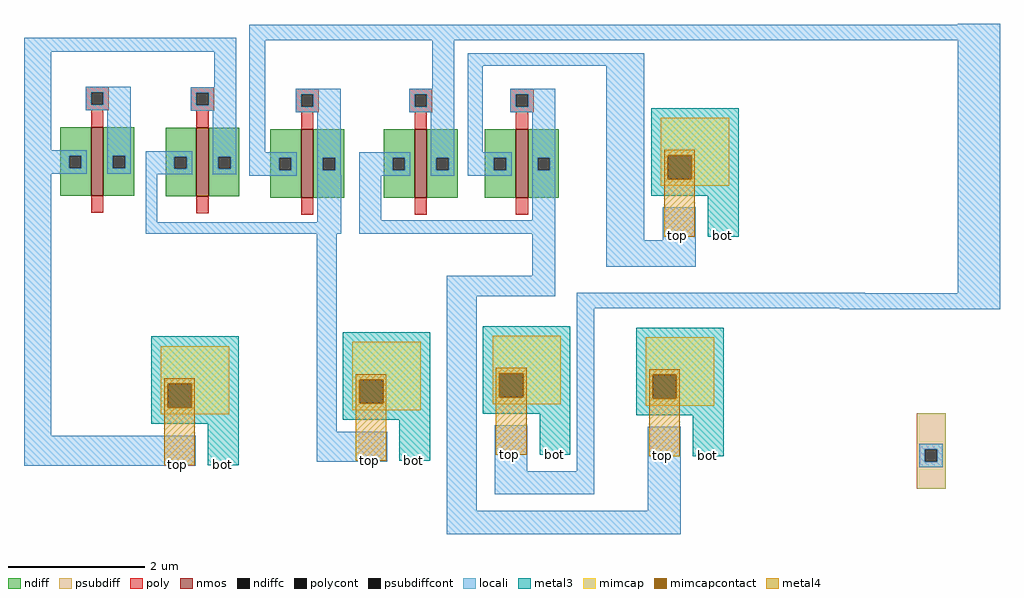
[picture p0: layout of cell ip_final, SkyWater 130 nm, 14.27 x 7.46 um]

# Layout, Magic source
magic
tech sky130A
<< nmos >>
rect 0 2 18 102
rect 154 1 172 101
rect 307 -1 325 99
rect 473 -1 491 99
rect 621 -1 639 99
<< ndiff >>
rect -45 60 0 102
rect -45 42 -32 60
rect -14 42 0 60
rect -45 2 0 42
rect 18 60 63 102
rect 18 42 32 60
rect 50 42 63 60
rect 18 2 63 42
rect 109 59 154 101
rect 109 41 122 59
rect 140 41 154 59
rect 109 1 154 41
rect 172 59 217 101
rect 172 41 186 59
rect 204 41 217 59
rect 172 1 217 41
rect 262 57 307 99
rect 262 39 275 57
rect 293 39 307 57
rect 262 -1 307 39
rect 325 57 370 99
rect 325 39 339 57
rect 357 39 370 57
rect 325 -1 370 39
rect 428 57 473 99
rect 428 39 441 57
rect 459 39 473 57
rect 428 -1 473 39
rect 491 57 536 99
rect 491 39 505 57
rect 523 39 536 57
rect 491 -1 536 39
rect 576 57 621 99
rect 576 39 589 57
rect 607 39 621 57
rect 576 -1 621 39
rect 639 57 684 99
rect 639 39 653 57
rect 671 39 684 57
rect 639 -1 684 39
<< ndiffc >>
rect -32 42 -14 60
rect 32 42 50 60
rect 122 41 140 59
rect 186 41 204 59
rect 275 39 293 57
rect 339 39 357 57
rect 441 39 459 57
rect 505 39 523 57
rect 589 39 607 57
rect 653 39 671 57
<< psubdiff >>
rect 1207 -369 1250 -316
rect 1207 -387 1219 -369
rect 1237 -387 1250 -369
rect 1207 -427 1250 -387
<< psubdiffcont >>
rect 1219 -387 1237 -369
<< poly >>
rect -8 153 26 161
rect -8 135 0 153
rect 18 135 26 153
rect -8 127 26 135
rect 146 152 180 160
rect 146 134 154 152
rect 172 134 180 152
rect 0 102 18 127
rect 146 126 180 134
rect 299 150 333 158
rect 299 132 307 150
rect 325 132 333 150
rect 154 101 172 126
rect 299 124 333 132
rect 465 150 499 158
rect 465 132 473 150
rect 491 132 499 150
rect 465 124 499 132
rect 613 150 647 158
rect 613 132 621 150
rect 639 132 647 150
rect 613 124 647 132
rect 0 -23 18 2
rect 307 99 325 124
rect 473 99 491 124
rect 621 99 639 124
rect 154 -24 172 1
rect 307 -26 325 -1
rect 473 -26 491 -1
rect 621 -26 639 -1
<< polycont >>
rect 0 135 18 153
rect 154 134 172 152
rect 307 132 325 150
rect 473 132 491 150
rect 621 132 639 150
<< locali >>
rect 1267 252 1329 253
rect -98 212 212 233
rect -98 68 -58 212
rect -8 153 58 161
rect 180 160 212 212
rect -8 135 0 153
rect 18 135 58 153
rect -8 127 58 135
rect -98 60 -6 68
rect -98 42 -32 60
rect -14 42 -6 60
rect -98 34 -6 42
rect 24 60 58 127
rect 146 152 212 160
rect 146 134 154 152
rect 172 134 212 152
rect 146 126 212 134
rect 24 42 32 60
rect 50 42 58 60
rect 24 34 58 42
rect 80 59 148 67
rect 80 41 122 59
rect 140 41 148 59
rect -98 -349 -58 34
rect 80 33 148 41
rect 178 59 212 126
rect 178 41 186 59
rect 204 41 212 59
rect 178 33 212 41
rect 231 229 1329 252
rect 231 65 255 229
rect 499 158 531 229
rect 299 150 365 158
rect 299 132 307 150
rect 325 132 365 150
rect 299 124 365 132
rect 465 150 531 158
rect 465 132 473 150
rect 491 132 531 150
rect 465 124 531 132
rect 231 57 301 65
rect 231 39 275 57
rect 293 39 301 57
rect 80 -37 97 33
rect 231 31 301 39
rect 331 57 365 124
rect 331 39 339 57
rect 357 39 365 57
rect 331 31 365 39
rect 392 57 467 65
rect 392 39 441 57
rect 459 39 467 57
rect 392 31 467 39
rect 497 57 531 124
rect 497 39 505 57
rect 523 39 531 57
rect 497 31 531 39
rect 551 192 809 210
rect 551 65 573 192
rect 613 150 679 158
rect 613 132 621 150
rect 639 132 679 150
rect 613 124 679 132
rect 551 57 615 65
rect 551 39 589 57
rect 607 39 615 57
rect 551 31 615 39
rect 645 57 679 124
rect 645 39 653 57
rect 671 39 679 57
rect 331 -37 366 31
rect 80 -54 366 -37
rect 392 -34 424 31
rect 645 -34 679 39
rect 392 -54 679 -34
rect 330 -343 359 -54
rect 645 -115 679 -54
rect 753 -63 809 192
rect 836 -63 884 -15
rect 753 -102 884 -63
rect 520 -145 679 -115
rect 710 -141 1131 -140
rect 1267 -141 1329 229
rect -98 -393 153 -349
rect 330 -387 433 -343
rect 520 -459 564 -145
rect 710 -163 1329 -141
rect 590 -401 638 -334
rect 710 -401 736 -163
rect 1095 -164 1329 -163
rect 590 -435 736 -401
rect 814 -459 862 -336
rect 1211 -369 1245 -361
rect 1211 -387 1219 -369
rect 1237 -387 1245 -369
rect 1211 -395 1245 -387
rect 520 -493 862 -459
<< metal3 >>
rect 819 2 947 130
rect 902 -58 947 2
rect 88 -332 216 -204
rect 368 -326 496 -198
rect 573 -317 701 -189
rect 171 -392 216 -332
rect 451 -386 496 -326
rect 656 -377 701 -317
rect 797 -319 925 -191
rect 880 -379 925 -319
<< mimcap >>
rect 833 61 933 116
rect 833 26 843 61
rect 878 26 933 61
rect 833 16 933 26
rect 102 -273 202 -218
rect 102 -308 112 -273
rect 147 -308 202 -273
rect 102 -318 202 -308
rect 382 -267 482 -212
rect 382 -302 392 -267
rect 427 -302 482 -267
rect 382 -312 482 -302
rect 587 -258 687 -203
rect 587 -293 597 -258
rect 632 -293 687 -258
rect 587 -303 687 -293
rect 811 -260 911 -205
rect 811 -295 821 -260
rect 856 -295 911 -260
rect 811 -305 911 -295
<< mimcapcontact >>
rect 843 26 878 61
rect 112 -308 147 -273
rect 392 -302 427 -267
rect 597 -293 632 -258
rect 821 -295 856 -260
<< metal4 >>
rect 838 61 883 69
rect 838 26 843 61
rect 878 26 883 61
rect 838 -58 883 26
rect 592 -258 637 -250
rect 107 -273 152 -265
rect 107 -308 112 -273
rect 147 -308 152 -273
rect 107 -392 152 -308
rect 387 -267 432 -259
rect 387 -302 392 -267
rect 427 -302 432 -267
rect 387 -386 432 -302
rect 592 -293 597 -258
rect 632 -293 637 -258
rect 592 -377 637 -293
rect 816 -260 861 -252
rect 816 -295 821 -260
rect 856 -295 861 -260
rect 816 -379 861 -295
<< labels >>
rlabel metal4 127 -391 127 -391 5 top
rlabel metal3 192 -391 192 -391 5 bot
rlabel metal4 407 -385 407 -385 5 top
rlabel metal3 472 -385 472 -385 5 bot
rlabel metal3 677 -376 677 -376 5 bot
rlabel metal4 612 -376 612 -376 5 top
rlabel metal3 901 -378 901 -378 5 bot
rlabel metal4 836 -378 836 -378 5 top
rlabel metal3 923 -57 923 -57 5 bot
rlabel metal4 858 -57 858 -57 5 top
<< end >>
